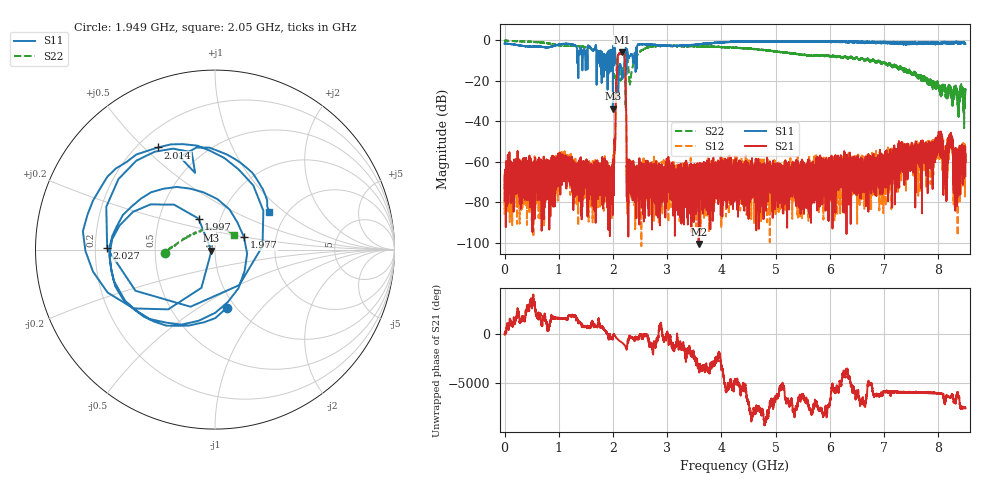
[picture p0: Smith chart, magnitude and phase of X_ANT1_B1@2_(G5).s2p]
#  HZ  S  RI  R  50.00
! Rohde & Schwarz Vector Network Analyzer
! Rohde-Schwarz,ZNBT8-20Port,1318700624101681,3.50
! Created: UTC 7/15/2025, 2:08:11 PM
! freq[Hz]  re:S1010  im:S1010  re:S0510  im:S0510  re:S1005  im:S1005  re:S55  im:S55
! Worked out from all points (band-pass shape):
!   8500 points, 1 MHz to 8.5 GHz, reference 50 ohm
!   highest |S21| = -5.96 dB at 2.173 GHz (marker M1); lowest = -100.4 dB at 3.58 GHz (marker M2)
!   |S21| within 3 dB of the highest: 2.086 GHz to 2.218 GHz (132.4 MHz wide, 6.15 % of centre)
!   lowest |S11| = -33.7 dB at 1.998 GHz (marker M3), VSWR 1.04, Z = 48.1 - j0.596 ohm
!   |S11| at or under -10 dB: 1.856 GHz to 1.87 GHz (13.66 MHz wide, 0.733 % of centre); 2.059 GHz to 2.211 GHz (152 MHz wide, 7.12 % of centre); 2.369 GHz to 2.384 GHz (14.67 MHz wide, 0.617 % of centre)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
!   |S22| runs from -43.4 to -0.1 dB; largest |S21 - S12| = 0.022
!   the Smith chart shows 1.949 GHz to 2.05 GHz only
!   S11 on the Smith chart (normalised r, x): 1.949 GHz: 0.91, -0.66; 1.977 GHz: 1.37, +0.20; 1.997 GHz: 0.79, +0.28; 2.014 GHz: 0.28, +0.55; 2.027 GHz: 0.25, +0.01; 2.05 GHz: 1.63, +0.80
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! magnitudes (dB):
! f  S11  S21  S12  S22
! 1 MHz  -1.7  -79.1  -72.5  -0.1
! 1.418 GHz  -5.1  -67.6  -68.7  -3.1
! 1.949 GHz  -9.6  -63.3  -69.2  -11.1
! 1.977 GHz  -15.1  -65.9  -67.8  -13.1
! 1.997 GHz  -14.2  -68.2  -58.7  -15.2
! 1.998 GHz  -33.7  -67.4  -70.0  -15.3
! 2.014 GHz  -3.7  -64.4  -63.9  -16.8
! 2.027 GHz  -4.4  -49.0  -50.0  -18.3
! 2.05 GHz  -8.6  -33.0  -33.1  -17.6
! 2.095 GHz  -25.7  -7.3  -7.3  -13.7
! 2.173 GHz  -18.9  -6.0  -6.0  -13.3
! 2.206 GHz  -13.9  -6.8  -6.7  -13.8
! 2.299 GHz  -8.1  -70.6  -71.4  -18.8
! 2.834 GHz  -2.4  -67.4  -65.4  -2.9
! 3.58 GHz  -2.0  -100.4  -70.7  -3.0
! 4.251 GHz  -0.7  -66.5  -57.4  -3.6
! 5.667 GHz  -0.4  -63.7  -77.3  -7.7
! 7.084 GHz  -1.1  -60.9  -54.9  -11.6
! 8.13 GHz  -1.2  -54.4  -60.6  -24.9
! 8.221 GHz  -1.4  -48.7  -46.1  -22.8
! 8.32 GHz  -1.0  -60.5  -65.4  -22.3
! 8.5 GHz  -1.9  -67.0  -52.0  -25.3
